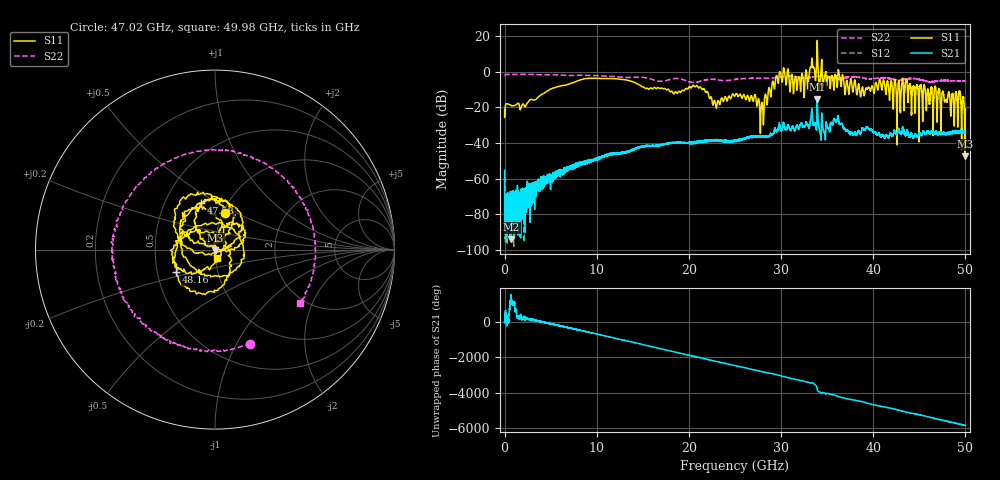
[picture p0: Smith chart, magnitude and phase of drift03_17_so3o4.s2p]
!Created with skrf (http://scikit-rf.org).
# Hz S RI R 50.0
!freq ReS11 ImS11 ReS21 ImS21 ReS12 ImS12 ReS22 ImS22
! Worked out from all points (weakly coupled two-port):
!   10001 points, 300 kHz to 50 GHz, reference 50 ohm
!   highest |S21| = -15.21 dB at 33.92 GHz (marker M1); lowest = -94.2 dB at 735.3 MHz (marker M2)
!   lowest |S11| = -47.3 dB at 49.95 GHz (marker M3), VSWR 1.01, Z = 50.1 - j0.417 ohm
!   |S11| at or under -10 dB: start of sweep to 4.848 GHz; 21.69 GHz to 28.62 GHz (6.935 GHz wide, 27.6 % of centre); 47.2 GHz to end of sweep (the widest 3 of 48)
!   |S22| runs from -5.9 to -1.3 dB; largest |S21 - S12| = 0.018
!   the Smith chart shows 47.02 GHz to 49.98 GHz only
!   S11 on the Smith chart (normalised r, x): 47.02 GHz: 1.02, +0.44; 47.58 GHz: 0.75, +0.42; 48.16 GHz: 0.63, -0.17; 49.98 GHz: 1.02, -0.10
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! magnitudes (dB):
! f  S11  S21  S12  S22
! 300 kHz  -21.3  -55.3  -59.1  -2.0
! 260.3 MHz  -17.9  -80.6  -82.4  -1.4
! 735.3 MHz  -18.9  -94.2  -71.2  -1.5
! 8.335 GHz  -4.3  -51.7  -51.6  -1.9
! 16.67 GHz  -8.8  -41.3  -41.3  -5.2
! 21.01 GHz  -8.7  -39.3  -39.3  -5.6
! 22.81 GHz  -16.1  -38.6  -38.6  -4.2
! 25 GHz  -13.4  -39.1  -38.6  -4.3
! 27.02 GHz  -15.7  -36.2  -36.2  -3.5
! 27.92 GHz  -17.1  -36.4  -36.4  -3.5
! 29.69 GHz  -6.5  -32.2  -31.4  -3.1
! 32.32 GHz  -1.5  -30.6  -30.9  -3.3
! 33.34 GHz  7.8  -20.6  -21.0  -2.9
! 33.92 GHz  17.7  -15.2  -15.5  -2.5
! 38.81 GHz  -8.7  -31.7  -31.9  -3.4
! 41.67 GHz  -8.9  -36.7  -36.4  -3.7
! 47.02 GHz  -13.5  -34.2  -34.8  -5.0
! 47.58 GHz  -11.4  -34.4  -34.4  -4.8
! 48.16 GHz  -12.0  -34.4  -34.4  -4.9
! 49.95 GHz  -47.3  -33.9  -33.8  -5.0
! 49.98 GHz  -26.3  -34.0  -34.1  -5.1
! 50 GHz  -20.8  -34.2  -33.8  -5.0
